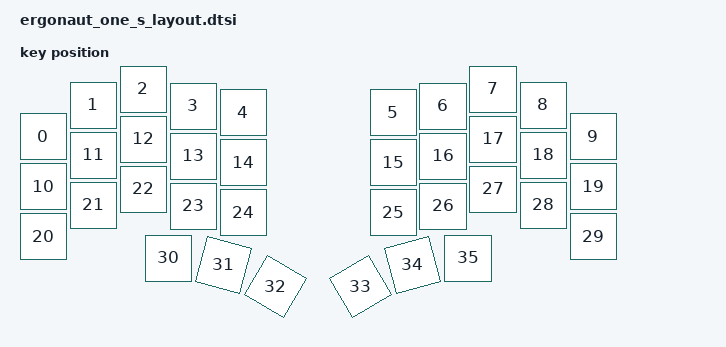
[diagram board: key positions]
#include <physical_layouts.dtsi>

/ {
    ergonaut_one_s_layout: ergonaut_one_s_layout {
        compatible = "zmk,physical-layout";
        display-name = "Ergonaut One S";

        keys  //                     w   h    x    y     rot    rx    ry
            = <&key_physical_attrs 100 100    0   95       0     0     0>
            , <&key_physical_attrs 100 100  100   32       0     0     0>
            , <&key_physical_attrs 100 100  200    0       0     0     0>
            , <&key_physical_attrs 100 100  300   34       0     0     0>
            , <&key_physical_attrs 100 100  400   47       0     0     0>
            , <&key_physical_attrs 100 100  700   47       0     0     0>
            , <&key_physical_attrs 100 100  800   34       0     0     0>
            , <&key_physical_attrs 100 100  900    0       0     0     0>
            , <&key_physical_attrs 100 100 1000   32       0     0     0>
            , <&key_physical_attrs 100 100 1100   95       0     0     0>
            , <&key_physical_attrs 100 100    0  195       0     0     0>
            , <&key_physical_attrs 100 100  100  132       0     0     0>
            , <&key_physical_attrs 100 100  200  100       0     0     0>
            , <&key_physical_attrs 100 100  300  134       0     0     0>
            , <&key_physical_attrs 100 100  400  147       0     0     0>
            , <&key_physical_attrs 100 100  700  147       0     0     0>
            , <&key_physical_attrs 100 100  800  134       0     0     0>
            , <&key_physical_attrs 100 100  900  100       0     0     0>
            , <&key_physical_attrs 100 100 1000  132       0     0     0>
            , <&key_physical_attrs 100 100 1100  195       0     0     0>
            , <&key_physical_attrs 100 100    0  295       0     0     0>
            , <&key_physical_attrs 100 100  100  232       0     0     0>
            , <&key_physical_attrs 100 100  200  200       0     0     0>
            , <&key_physical_attrs 100 100  300  234       0     0     0>
            , <&key_physical_attrs 100 100  400  247       0     0     0>
            , <&key_physical_attrs 100 100  700  247       0     0     0>
            , <&key_physical_attrs 100 100  800  234       0     0     0>
            , <&key_physical_attrs 100 100  900  200       0     0     0>
            , <&key_physical_attrs 100 100 1000  232       0     0     0>
            , <&key_physical_attrs 100 100 1100  295       0     0     0>
            , <&key_physical_attrs 100 100  250  338       0     0     0>
            , <&key_physical_attrs 100 100  361  352    1500   411   402>
            , <&key_physical_attrs 100 100  465  395    3000   515   445>
            , <&key_physical_attrs 100 100  635  395 (-3000)   685   445>
            , <&key_physical_attrs 100 100  739  352 (-1500)   789   402>
            , <&key_physical_attrs 100 100  850  338       0     0     0>
            ;
    };
};
